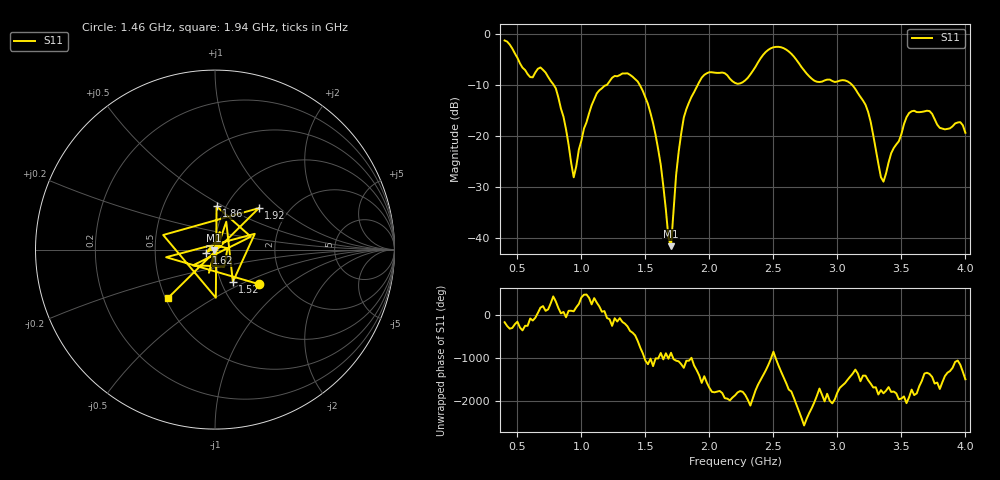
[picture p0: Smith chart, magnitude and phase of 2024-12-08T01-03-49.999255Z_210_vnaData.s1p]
!Created with skrf (http://scikit-rf.org).
# Hz S RI R 50.0
!freq ReS11 ImS11
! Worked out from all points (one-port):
!   181 points, 400 MHz to 4 GHz, reference 50 ohm
!   lowest |S11| = -41.6 dB at 1.7 GHz (marker M1), VSWR 1.02, Z = 49.2 - j0.336 ohm
!   |S11| at or under -10 dB: 783.2 MHz to 1.2 GHz (416.9 MHz wide, 42 % of centre); 1.455 GHz to 1.909 GHz (453.9 MHz wide, 27 % of centre); 3.115 GHz to end of sweep
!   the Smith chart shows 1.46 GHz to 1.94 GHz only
!   S11 on the Smith chart (normalised r, x): 1.46 GHz: 1.48, -0.63; 1.52 GHz: 1.14, -0.43; 1.62 GHz: 0.91, -0.03; 1.86 GHz: 0.90, +0.46; 1.92 GHz: 1.42, +0.74; 1.94 GHz: 0.52, -0.32
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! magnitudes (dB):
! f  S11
! 400 MHz  -1.3
! 600 MHz  -8.5
! 720 MHz  -7.6
! 800 MHz  -10.7
! 860 MHz  -16.2
! 940 MHz  -28.1
! 1.02 GHz  -18.6
! 1.12 GHz  -11.7
! 1.3 GHz  -8.1
! 1.46 GHz  -10.2
! 1.52 GHz  -13.8
! 1.62 GHz  -25.6
! 1.68 GHz  -39.9
! 1.7 GHz  -41.6
! 1.76 GHz  -23.1
! 1.8 GHz  -16.4
! 1.86 GHz  -12.3
! 1.92 GHz  -9.5
! 1.94 GHz  -8.6
! 2.2 GHz  -9.6
! 2.48 GHz  -2.8
! 2.66 GHz  -4.5
! 2.82 GHz  -9.2
! 3.1 GHz  -9.6
! 3.24 GHz  -15.3
! 3.36 GHz  -28.9
! 3.56 GHz  -15.5
! 4 GHz  -19.4
